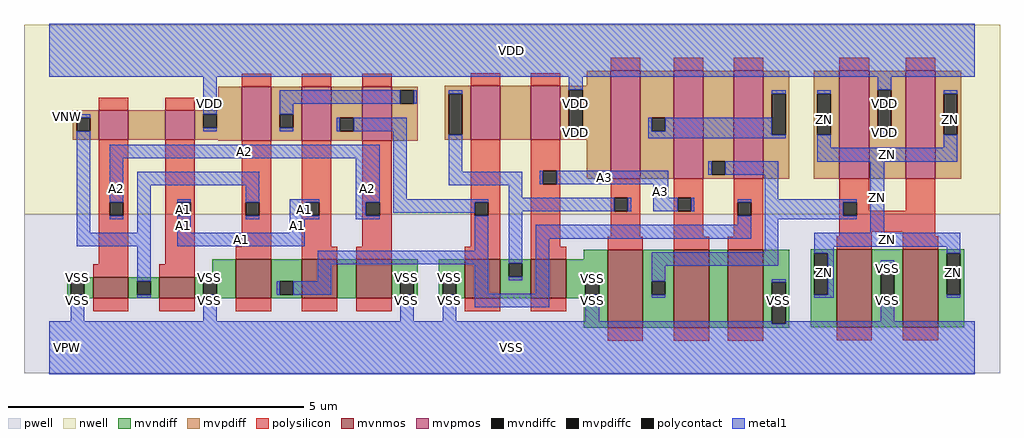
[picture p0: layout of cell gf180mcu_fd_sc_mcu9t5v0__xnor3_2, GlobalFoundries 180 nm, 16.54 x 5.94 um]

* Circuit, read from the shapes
.subckt gf180mcu_fd_sc_mcu9t5v0__xnor3_2 A1 A2 A3 ZN VDD VNW VPW VSS
XM1 n1 A2 VSS VPW nfet_06v0 w=0.36u l=0.6u
XM2 VSS A1 n1 VPW nfet_06v0 w=0.36u l=0.6u
XM3 n2 n1 VSS VPW nfet_06v0 w=0.66u l=0.6u
XM4 n3 A1 n2 VPW nfet_06v0 w=0.66u l=0.6u
XM5 VSS A2 n3 VPW nfet_06v0 w=0.66u l=0.6u
XM6 n4 n2 VSS VPW nfet_06v0 w=0.66u l=0.6u
XM7 VSS A3 n4 VPW nfet_06v0 w=0.66u l=0.6u
XM8 n5 n4 VSS VPW nfet_06v0 w=1.32u l=0.6u
XM9 n6 A3 n5 VPW nfet_06v0 w=1.32u l=0.6u
XM10 VSS n2 n6 VPW nfet_06v0 w=1.32u l=0.6u
XM11 VSS n5 ZN VPW nfet_06v0 w=1.32u l=0.6u m=2
XM12 n7 A2 n1 VNW pfet_06v0 w=0.495u l=0.5u
XM13 VDD A1 n7 VNW pfet_06v0 w=0.495u l=0.5u
XM14 n8 n1 VDD VNW pfet_06v0 w=0.915u l=0.5u
XM15 n2 A1 n8 VNW pfet_06v0 w=0.915u l=0.5u
XM16 n8 A2 n2 VNW pfet_06v0 w=0.915u l=0.5u
XM17 n9 n2 n4 VNW pfet_06v0 w=0.915u l=0.5u
XM18 VDD A3 n9 VNW pfet_06v0 w=0.915u l=0.5u
XM19 n10 n4 VDD VNW pfet_06v0 w=1.83u l=0.5u
XM20 n5 A3 n10 VNW pfet_06v0 w=1.83u l=0.5u
XM21 n10 n2 n5 VNW pfet_06v0 w=1.83u l=0.5u
XM22 VDD n5 ZN VNW pfet_06v0 w=1.83u l=0.5u m=2
.ends

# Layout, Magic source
magic
tech gf180mcuD
magscale 1 10
<< nwell >>
rect -86 453 3222 1094
<< pwell >>
rect -86 -86 3222 453
<< mvnmos >>
rect 148 167 268 239
rect 372 167 492 239
rect 632 167 752 299
rect 856 167 976 299
rect 1040 167 1160 299
rect 1408 167 1528 299
rect 1632 167 1752 299
rect 1892 68 2012 332
rect 2116 68 2236 332
rect 2300 68 2420 332
rect 2668 69 2788 333
rect 2892 69 3012 333
<< mvpmos >>
rect 168 705 268 804
rect 392 705 492 804
rect 652 702 752 885
rect 856 702 956 885
rect 1060 702 1160 885
rect 1428 704 1528 887
rect 1632 704 1732 887
rect 1902 573 2002 939
rect 2116 573 2216 939
rect 2320 573 2420 939
rect 2678 573 2778 939
rect 2902 573 3002 939
<< mvndiff >>
rect 1812 299 1892 332
rect 552 239 632 299
rect 60 226 148 239
rect 60 180 73 226
rect 119 180 148 226
rect 60 167 148 180
rect 268 226 372 239
rect 268 180 297 226
rect 343 180 372 226
rect 268 167 372 180
rect 492 226 632 239
rect 492 180 521 226
rect 567 180 632 226
rect 492 167 632 180
rect 752 226 856 299
rect 752 180 781 226
rect 827 180 856 226
rect 752 167 856 180
rect 976 167 1040 299
rect 1160 226 1248 299
rect 1160 180 1189 226
rect 1235 180 1248 226
rect 1160 167 1248 180
rect 1320 226 1408 299
rect 1320 180 1333 226
rect 1379 180 1408 226
rect 1320 167 1408 180
rect 1528 286 1632 299
rect 1528 240 1557 286
rect 1603 240 1632 286
rect 1528 167 1632 240
rect 1752 225 1892 299
rect 1752 179 1817 225
rect 1863 179 1892 225
rect 1752 167 1892 179
rect 1812 68 1892 167
rect 2012 226 2116 332
rect 2012 180 2041 226
rect 2087 180 2116 226
rect 2012 68 2116 180
rect 2236 68 2300 332
rect 2420 221 2508 332
rect 2420 81 2449 221
rect 2495 81 2508 221
rect 2420 68 2508 81
rect 2580 320 2668 333
rect 2580 180 2593 320
rect 2639 180 2668 320
rect 2580 69 2668 180
rect 2788 286 2892 333
rect 2788 146 2817 286
rect 2863 146 2892 286
rect 2788 69 2892 146
rect 3012 320 3100 333
rect 3012 180 3041 320
rect 3087 180 3100 320
rect 3012 69 3100 180
<< mvpdiff >>
rect 1822 887 1902 939
rect 572 804 652 885
rect 80 780 168 804
rect 80 734 93 780
rect 139 734 168 780
rect 80 705 168 734
rect 268 705 392 804
rect 492 791 652 804
rect 492 745 521 791
rect 567 745 652 791
rect 492 705 652 745
rect 572 702 652 705
rect 752 791 856 885
rect 752 745 781 791
rect 827 745 856 791
rect 752 702 856 745
rect 956 780 1060 885
rect 956 734 985 780
rect 1031 734 1060 780
rect 956 702 1060 734
rect 1160 872 1248 885
rect 1160 826 1189 872
rect 1235 826 1248 872
rect 1160 702 1248 826
rect 1340 861 1428 887
rect 1340 721 1353 861
rect 1399 721 1428 861
rect 1340 704 1428 721
rect 1528 704 1632 887
rect 1732 874 1902 887
rect 1732 734 1761 874
rect 1807 734 1902 874
rect 1732 704 1902 734
rect 1822 573 1902 704
rect 2002 780 2116 939
rect 2002 734 2041 780
rect 2087 734 2116 780
rect 2002 573 2116 734
rect 2216 632 2320 939
rect 2216 586 2245 632
rect 2291 586 2320 632
rect 2216 573 2320 586
rect 2420 861 2508 939
rect 2420 721 2449 861
rect 2495 721 2508 861
rect 2420 573 2508 721
rect 2590 861 2678 939
rect 2590 721 2603 861
rect 2649 721 2678 861
rect 2590 573 2678 721
rect 2778 874 2902 939
rect 2778 734 2807 874
rect 2853 734 2902 874
rect 2778 573 2902 734
rect 3002 861 3090 939
rect 3002 721 3031 861
rect 3077 721 3090 861
rect 3002 573 3090 721
<< mvndiffc >>
rect 73 180 119 226
rect 297 180 343 226
rect 521 180 567 226
rect 781 180 827 226
rect 1189 180 1235 226
rect 1333 180 1379 226
rect 1557 240 1603 286
rect 1817 179 1863 225
rect 2041 180 2087 226
rect 2449 81 2495 221
rect 2593 180 2639 320
rect 2817 146 2863 286
rect 3041 180 3087 320
<< mvpdiffc >>
rect 93 734 139 780
rect 521 745 567 791
rect 781 745 827 791
rect 985 734 1031 780
rect 1189 826 1235 872
rect 1353 721 1399 861
rect 1761 734 1807 874
rect 2041 734 2087 780
rect 2245 586 2291 632
rect 2449 721 2495 861
rect 2603 721 2649 861
rect 2807 734 2853 874
rect 3031 721 3077 861
<< polysilicon >>
rect 1902 939 2002 983
rect 2116 939 2216 983
rect 2320 939 2420 983
rect 2678 939 2778 983
rect 2902 939 3002 983
rect 652 885 752 929
rect 856 885 956 929
rect 1060 885 1160 929
rect 1428 887 1528 931
rect 1632 887 1732 931
rect 168 804 268 848
rect 392 804 492 848
rect 168 493 268 705
rect 168 447 205 493
rect 251 447 268 493
rect 168 283 268 447
rect 392 493 492 705
rect 392 447 433 493
rect 479 447 492 493
rect 392 283 492 447
rect 652 493 752 702
rect 652 447 665 493
rect 711 447 752 493
rect 652 343 752 447
rect 632 299 752 343
rect 856 493 956 702
rect 856 447 869 493
rect 915 447 956 493
rect 856 343 956 447
rect 1060 493 1160 702
rect 1060 447 1073 493
rect 1119 447 1160 493
rect 1060 343 1160 447
rect 1428 493 1528 704
rect 1428 447 1441 493
rect 1487 447 1528 493
rect 1428 343 1528 447
rect 856 299 976 343
rect 1040 299 1160 343
rect 1408 299 1528 343
rect 1632 600 1732 704
rect 1632 554 1673 600
rect 1719 554 1732 600
rect 1632 343 1732 554
rect 1902 508 2002 573
rect 1902 462 1915 508
rect 1961 462 2002 508
rect 1902 376 2002 462
rect 2116 508 2216 573
rect 2116 462 2129 508
rect 2175 462 2216 508
rect 2116 376 2216 462
rect 2320 493 2420 573
rect 2320 447 2333 493
rect 2379 447 2420 493
rect 2320 376 2420 447
rect 2678 493 2778 573
rect 2678 447 2691 493
rect 2737 465 2778 493
rect 2902 465 3002 573
rect 2737 447 3002 465
rect 2678 393 3002 447
rect 2678 377 2788 393
rect 1632 299 1752 343
rect 1892 332 2012 376
rect 2116 332 2236 376
rect 2300 332 2420 376
rect 2668 333 2788 377
rect 2892 377 3002 393
rect 2892 333 3012 377
rect 148 239 268 283
rect 372 239 492 283
rect 148 123 268 167
rect 372 123 492 167
rect 632 123 752 167
rect 856 123 976 167
rect 1040 123 1160 167
rect 1408 123 1528 167
rect 1632 123 1752 167
rect 1892 24 2012 68
rect 2116 24 2236 68
rect 2300 24 2420 68
rect 2668 25 2788 69
rect 2892 25 3012 69
<< polycontact >>
rect 205 447 251 493
rect 433 447 479 493
rect 665 447 711 493
rect 869 447 915 493
rect 1073 447 1119 493
rect 1441 447 1487 493
rect 1673 554 1719 600
rect 1915 462 1961 508
rect 2129 462 2175 508
rect 2333 447 2379 493
rect 2691 447 2737 493
<< metal1 >>
rect 0 918 3136 1098
rect 521 791 567 918
rect 1761 874 1807 918
rect 93 780 139 791
rect 521 734 567 745
rect 781 826 1189 872
rect 1235 826 1246 872
rect 1353 861 1399 872
rect 781 791 827 826
rect 781 734 827 745
rect 974 734 985 780
rect 1031 734 1211 780
rect 93 390 139 734
rect 205 642 1119 688
rect 205 493 251 642
rect 205 436 251 447
rect 297 550 711 596
rect 297 390 343 550
rect 93 344 343 390
rect 433 493 479 504
rect 433 390 479 447
rect 665 493 711 550
rect 665 436 711 447
rect 814 493 915 504
rect 814 447 869 493
rect 814 436 915 447
rect 1038 493 1119 642
rect 1038 447 1073 493
rect 1165 504 1211 734
rect 2807 874 2853 918
rect 2449 861 2495 872
rect 1761 723 1807 734
rect 2030 734 2041 780
rect 2087 734 2449 780
rect 1353 596 1399 721
rect 2030 721 2449 734
rect 2030 710 2495 721
rect 2603 861 2649 872
rect 2807 723 2853 734
rect 3031 861 3077 872
rect 2603 677 2649 721
rect 3031 677 3077 721
rect 1353 550 1603 596
rect 1662 554 1673 600
rect 1719 554 2098 600
rect 2234 586 2245 632
rect 2291 586 2471 632
rect 2603 631 3077 677
rect 1557 508 1603 550
rect 2046 508 2098 554
rect 1165 493 1487 504
rect 1165 458 1441 493
rect 1038 436 1119 447
rect 814 390 866 436
rect 433 344 866 390
rect 73 226 119 237
rect 73 90 119 180
rect 297 226 343 344
rect 1441 329 1487 447
rect 910 283 1487 329
rect 297 169 343 180
rect 521 226 567 237
rect 910 226 956 283
rect 770 180 781 226
rect 827 180 956 226
rect 1189 226 1235 237
rect 521 90 567 180
rect 1189 90 1235 180
rect 1333 226 1379 237
rect 1333 90 1379 180
rect 1441 183 1487 283
rect 1557 462 1915 508
rect 1961 462 1972 508
rect 2046 462 2129 508
rect 2175 462 2186 508
rect 2425 504 2471 586
rect 2333 493 2379 504
rect 1557 286 1603 462
rect 2333 416 2379 447
rect 1557 229 1603 240
rect 1649 370 2379 416
rect 2425 493 2737 504
rect 2425 447 2691 493
rect 2425 436 2737 447
rect 1649 183 1695 370
rect 2425 324 2471 436
rect 2783 389 2829 631
rect 2041 278 2471 324
rect 2593 343 3087 389
rect 2593 320 2658 343
rect 1441 137 1695 183
rect 1817 225 1863 236
rect 1817 90 1863 179
rect 2041 226 2087 278
rect 2041 169 2087 180
rect 2449 221 2495 232
rect 0 81 2449 90
rect 2639 180 2658 320
rect 3041 320 3087 343
rect 2593 169 2658 180
rect 2817 286 2863 297
rect 3041 169 3087 180
rect 2817 90 2863 146
rect 2495 81 3136 90
rect 0 -90 3136 81
<< labels >>
flabel metal1 s 814 436 915 504 0 FreeSans 200 0 0 0 A1
port 1 nsew default input
flabel metal1 s 205 642 1119 688 0 FreeSans 200 0 0 0 A2
port 2 nsew default input
flabel metal1 s 1662 554 2098 600 0 FreeSans 200 0 0 0 A3
port 3 nsew default input
flabel metal1 s 0 918 3136 1098 0 FreeSans 200 0 0 0 VDD
port 5 nsew power bidirectional abutment
flabel metal1 s 2817 237 2863 297 0 FreeSans 200 0 0 0 VSS
port 8 nsew ground bidirectional abutment
flabel metal1 s 3031 677 3077 872 0 FreeSans 200 0 0 0 ZN
port 4 nsew default output
flabel nwell s 10 734 110 834 0 FreeSans 400 0 0 0 VNW
port 6 nsew power bidirectional
flabel pwell s 10 -50 110 50 0 FreeSans 400 0 0 0 VPW
port 7 nsew ground bidirectional
rlabel metal1 s 433 436 479 504 1 A1
port 1 nsew default input
rlabel metal1 s 814 390 866 436 1 A1
port 1 nsew default input
rlabel metal1 s 433 390 479 436 1 A1
port 1 nsew default input
rlabel metal1 s 433 344 866 390 1 A1
port 1 nsew default input
rlabel metal1 s 1038 436 1119 642 1 A2
port 2 nsew default input
rlabel metal1 s 205 436 251 642 1 A2
port 2 nsew default input
rlabel metal1 s 2046 508 2098 554 1 A3
port 3 nsew default input
rlabel metal1 s 2046 462 2186 508 1 A3
port 3 nsew default input
rlabel metal1 s 2603 677 2649 872 1 ZN
port 4 nsew default output
rlabel metal1 s 2603 631 3077 677 1 ZN
port 4 nsew default output
rlabel metal1 s 2783 389 2829 631 1 ZN
port 4 nsew default output
rlabel metal1 s 2593 343 3087 389 1 ZN
port 4 nsew default output
rlabel metal1 s 3041 169 3087 343 1 ZN
port 4 nsew default output
rlabel metal1 s 2593 169 2658 343 1 ZN
port 4 nsew default output
rlabel metal1 s 2807 734 2853 918 1 VDD
port 5 nsew power bidirectional abutment
rlabel metal1 s 1761 734 1807 918 1 VDD
port 5 nsew power bidirectional abutment
rlabel metal1 s 521 734 567 918 1 VDD
port 5 nsew power bidirectional abutment
rlabel metal1 s 2807 723 2853 734 1 VDD
port 5 nsew power bidirectional abutment
rlabel metal1 s 1761 723 1807 734 1 VDD
port 5 nsew power bidirectional abutment
rlabel metal1 s 2817 236 2863 237 1 VSS
port 8 nsew ground bidirectional abutment
rlabel metal1 s 1333 236 1379 237 1 VSS
port 8 nsew ground bidirectional abutment
rlabel metal1 s 1189 236 1235 237 1 VSS
port 8 nsew ground bidirectional abutment
rlabel metal1 s 521 236 567 237 1 VSS
port 8 nsew ground bidirectional abutment
rlabel metal1 s 73 236 119 237 1 VSS
port 8 nsew ground bidirectional abutment
rlabel metal1 s 2817 232 2863 236 1 VSS
port 8 nsew ground bidirectional abutment
rlabel metal1 s 1817 232 1863 236 1 VSS
port 8 nsew ground bidirectional abutment
rlabel metal1 s 1333 232 1379 236 1 VSS
port 8 nsew ground bidirectional abutment
rlabel metal1 s 1189 232 1235 236 1 VSS
port 8 nsew ground bidirectional abutment
rlabel metal1 s 521 232 567 236 1 VSS
port 8 nsew ground bidirectional abutment
rlabel metal1 s 73 232 119 236 1 VSS
port 8 nsew ground bidirectional abutment
rlabel metal1 s 2817 90 2863 232 1 VSS
port 8 nsew ground bidirectional abutment
rlabel metal1 s 2449 90 2495 232 1 VSS
port 8 nsew ground bidirectional abutment
rlabel metal1 s 1817 90 1863 232 1 VSS
port 8 nsew ground bidirectional abutment
rlabel metal1 s 1333 90 1379 232 1 VSS
port 8 nsew ground bidirectional abutment
rlabel metal1 s 1189 90 1235 232 1 VSS
port 8 nsew ground bidirectional abutment
rlabel metal1 s 521 90 567 232 1 VSS
port 8 nsew ground bidirectional abutment
rlabel metal1 s 73 90 119 232 1 VSS
port 8 nsew ground bidirectional abutment
rlabel metal1 s 0 -90 3136 90 1 VSS
port 8 nsew ground bidirectional abutment
<< properties >>
string FIXED_BBOX 0 0 3136 1008
string GDS_END 474896
string GDS_FILE $PDKPATH/libs.ref/gf180mcu_fd_sc_mcu9t5v0/gds/gf180mcu_fd_sc_mcu9t5v0.gds
string GDS_START 467374
string LEFclass core
string LEFsite GF018hv5v_green_sc9
string LEFsymmetry X Y
<< end >>
